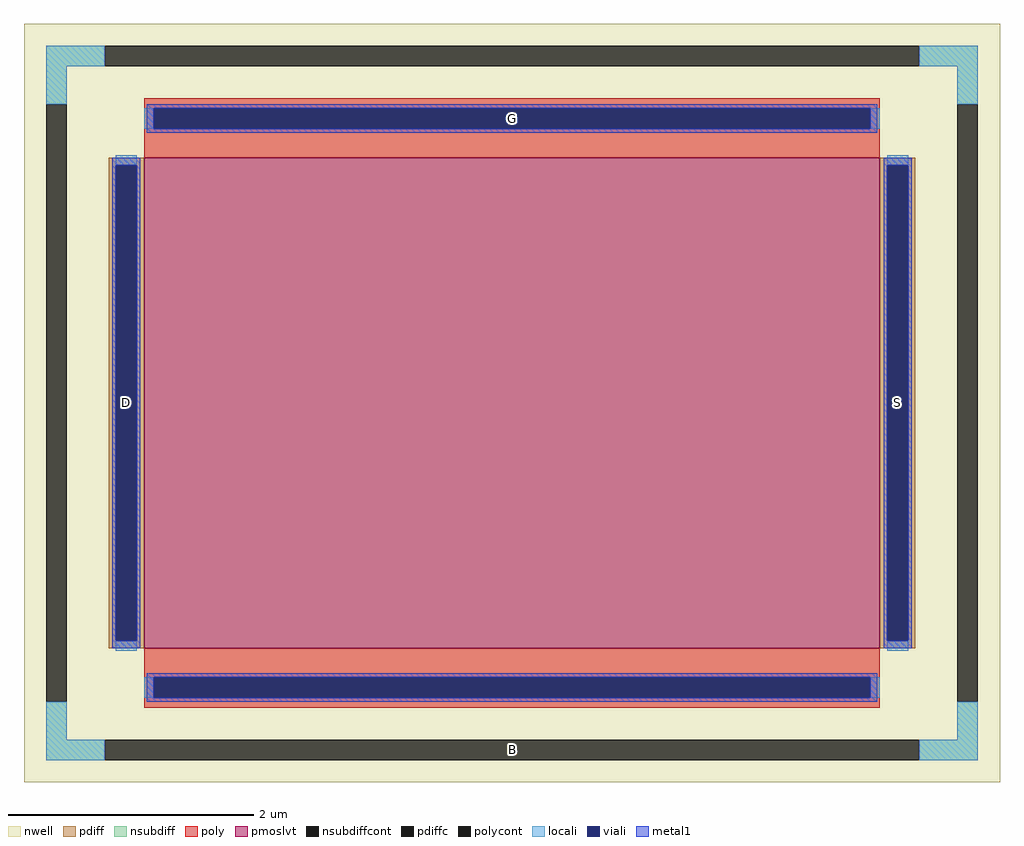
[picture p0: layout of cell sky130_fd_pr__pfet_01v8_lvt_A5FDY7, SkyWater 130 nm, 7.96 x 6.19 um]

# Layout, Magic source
magic
tech sky130A
magscale 1 2
<< nwell >>
rect -796 -619 796 619
<< pmoslvt >>
rect -600 -400 600 400
<< pdiff >>
rect -658 388 -600 400
rect -658 -388 -646 388
rect -612 -388 -600 388
rect -658 -400 -600 -388
rect 600 388 658 400
rect 600 -388 612 388
rect 646 -388 658 388
rect 600 -400 658 -388
<< pdiffc >>
rect -646 -388 -612 388
rect 612 -388 646 388
<< nsubdiff >>
rect -760 549 -664 583
rect 664 549 760 583
rect -760 487 -726 549
rect 726 487 760 549
rect -760 -549 -726 -487
rect 726 -549 760 -487
rect -760 -583 -664 -549
rect 664 -583 760 -549
<< nsubdiffcont >>
rect -664 549 664 583
rect -760 -487 -726 487
rect 726 -487 760 487
rect -664 -583 664 -549
<< poly >>
rect -600 481 600 497
rect -600 447 -584 481
rect 584 447 600 481
rect -600 400 600 447
rect -600 -447 600 -400
rect -600 -481 -584 -447
rect 584 -481 600 -447
rect -600 -497 600 -481
<< polycont >>
rect -584 447 584 481
rect -584 -481 584 -447
<< locali >>
rect -760 549 -664 583
rect 664 549 760 583
rect -760 487 -726 549
rect 726 487 760 549
rect -600 447 -584 481
rect 584 447 600 481
rect -646 388 -612 404
rect -646 -404 -612 -388
rect 612 388 646 404
rect 612 -404 646 -388
rect -600 -481 -584 -447
rect 584 -481 600 -447
rect -760 -549 -726 -487
rect 726 -549 760 -487
rect -760 -583 -664 -549
rect 664 -583 760 -549
<< viali >>
rect -584 447 584 481
rect -646 -388 -612 388
rect 612 -388 646 388
rect -584 -481 584 -447
<< metal1 >>
rect -596 481 596 487
rect -596 447 -584 481
rect 584 447 596 481
rect -596 441 596 447
rect -652 388 -606 400
rect -652 -388 -646 388
rect -612 -388 -606 388
rect -652 -400 -606 -388
rect 606 388 652 400
rect 606 -388 612 388
rect 646 -388 652 388
rect 606 -400 652 -388
rect -596 -447 596 -441
rect -596 -481 -584 -447
rect 584 -481 596 -447
rect -596 -487 596 -481
<< labels >>
rlabel nsubdiffcont 0 -566 0 -566 0 B
port 1 nsew
rlabel pdiffc -629 0 -629 0 0 D
port 2 nsew
rlabel pdiffc 629 0 629 0 0 S
port 3 nsew
rlabel polycont 0 464 0 464 0 G
port 4 nsew
<< properties >>
string FIXED_BBOX -743 -566 743 566
string gencell sky130_fd_pr__pfet_01v8_lvt
string library sky130
string parameters w 4.0 l 6.0 m 1 nf 1 diffcov 100 polycov 100 guard 1 glc 1 grc 1 gtc 1 gbc 1 tbcov 100 rlcov 100 topc 1 botc 1 poverlap 0 doverlap 1 lmin 0.35 wmin 0.42 class mosfet compatible {sky130_fd_pr__pfet_01v8  sky130_fd_pr__pfet_01v8_lvt sky130_fd_pr__pfet_01v8_hvt  sky130_fd_pr__pfet_g5v0d10v5} full_metal 1 conn_gates 0 viasrc 100 viadrn 100 viagate 100 viagb 0 viagr 0 viagl 0 viagt 0 doports 1
<< end >>
